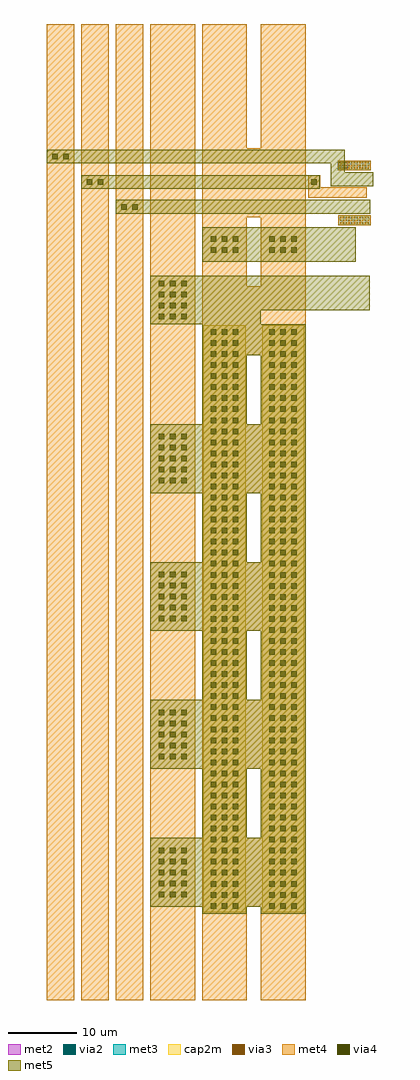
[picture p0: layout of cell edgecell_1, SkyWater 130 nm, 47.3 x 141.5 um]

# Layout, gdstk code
import gdstk
lib = gdstk.Library(unit=1e-6, precision=1e-09)
def R(c, l, rs):  # rectangles x0, y0, x1, y1
    for r in rs: c.add(gdstk.rectangle(r[:2], r[2:], *l))
def A(c, l, x, y, w, h, nx, ny, dx, dy):  # array of equal rectangles
    R(c, l, [(x+i*dx, y+j*dy, x+i*dx+w, y+j*dy+h) for i in range(nx) for j in range(ny)])
met2 = (69, 20)
via2 = (69, 44)
met3 = (70, 20)
via3 = (70, 44)
met4 = (71, 20)
via4 = (71, 44)
met5 = (72, 20)
cap2m = (97, 44)

edgecell_1 = lib.new_cell('edgecell_1')
R(edgecell_1, met2, [(3.9,126.3,5.3,127.7)])
A(edgecell_1, via2, 4.1, 126.5, 0.2, 0.2, 3, 3, 0.4, 0.4)
R(edgecell_1, met3, [(3.95,118.3,8.65,119.8), (3.9,126.3,8.65,127.7)])
A(edgecell_1, via3, 4.2, 118.55, 0.2, 0.2, 11, 3, 0.4, 0.4)
A(edgecell_1, via3, 4.2, 126.5, 0.2, 0.2, 11, 3, 0.4, 0.4)
A(edgecell_1, met4, -38.3, 6, 4, 141.5, 3, 1, 5, 0)
A(edgecell_1, met4, -15.8, 19.5, 15, 10, 1, 6, 0, 20)
A(edgecell_1, met4, -15.8, 29.5, 6.5, 10, 1, 5, 0, 20)
A(edgecell_1, met4, -7.3, 29.5, 6.5, 10, 1, 5, 0, 20)
R(edgecell_1, met4, [(-23.3,6,-16.8,147.5), (-15.8,6,-9.3,19.5), (-7.3,6,-0.8,19.5), (3.95,118.3,8.65,119.8), (-0.4,122.3,8.05,123.8), (-0.4,123.8,1.3,125.6), (3.95,126.3,8.65,127.7), (-15.8,129.5,-9.3,147.5), (-7.3,129.5,-0.8,147.5)])
A(edgecell_1, via4, -14.55, 19.25, 0.8, 0.8, 3, 53, 1.6, 1.6)
A(edgecell_1, via4, -6.05, 19.25, 0.8, 0.8, 3, 53, 1.6, 1.6)
A(edgecell_1, via4, -22.05, 20.9, 0.8, 0.8, 3, 5, 1.6, 1.6)
A(edgecell_1, via4, -22.05, 40.9, 0.8, 0.8, 3, 5, 1.6, 1.6)
A(edgecell_1, via4, -22.05, 60.9, 0.8, 0.8, 3, 5, 1.6, 1.6)
A(edgecell_1, via4, -22.05, 80.9, 0.8, 0.8, 3, 5, 1.6, 1.6)
A(edgecell_1, via4, -22.05, 104.7, 0.8, 0.8, 3, 4, 1.6, 1.6)
A(edgecell_1, via4, -14.55, 114.3, 0.8, 0.8, 3, 2, 1.6, 1.6)
A(edgecell_1, via4, -6.05, 114.3, 0.8, 0.8, 3, 2, 1.6, 1.6)
R(edgecell_1, via4, [(-27.5,120.6,-26.7,121.4), (-25.9,120.6,-25.1,121.4), (-32.5,124.2,-31.7,125), (-30.9,124.2,-30.1,125), (0.05,124.2,0.85,125), (-37.5,127.9,-36.7,128.7), (-35.9,127.9,-35.1,128.7)])
A(edgecell_1, met5, -23.3, 19.5, 22.5, 10, 1, 4, 0, 20)
A(edgecell_1, met5, -15.8, 29.5, 6.5, 10, 1, 4, 0, 20)
A(edgecell_1, met5, -7.3, 29.5, 6.5, 10, 1, 4, 0, 20)
R(edgecell_1, met5, [(-15.8,18.5,-9.3,19.5), (-7.3,18.5,-0.8,19.5), (-15.8,99.5,-0.8,104), (-23.3,104,-7.3,106), (-23.3,106,8.5,111), (-15.8,113,6.5,118), (-28.3,120,8.55,122), (-33.3,123.6,1.25,125.6), (2.85,124,9,126), (2.85,126,4.85,127.3), (-38.3,127.3,4.85,129.3)])
R(edgecell_1, cap2m, [(-15.6,18.7,-9.5,103.8), (-7.1,18.7,-1,103.8)])

lib.write_gds('edgecell_1.gds')
